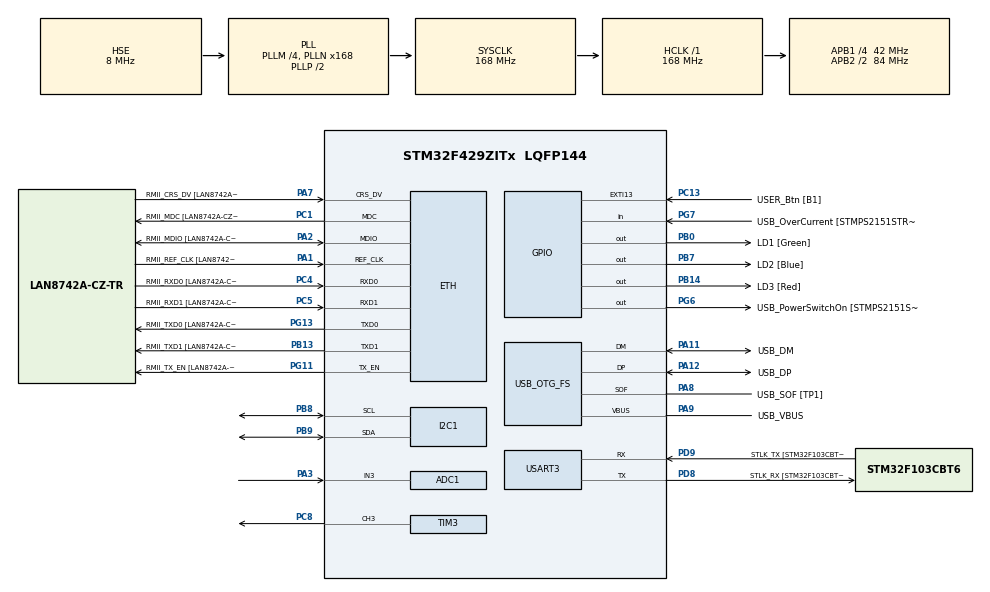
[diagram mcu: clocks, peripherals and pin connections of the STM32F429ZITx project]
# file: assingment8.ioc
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ADC1.Channel-0\#ChannelRegularConversion=ADC_CHANNEL_3
ADC1.NbrOfConversionFlag=1
ADC1.Rank-0\#ChannelRegularConversion=1
ADC1.SamplingTime-0\#ChannelRegularConversion=ADC_SAMPLETIME_3CYCLES
ADC1.master=1
ETH.MediaInterface=HAL_ETH_RMII_MODE
ETH.PHY_Name=LAN8742A_PHY_ADDRESS
ETH.PHY_Value=0
ETH.PhyAddress=0
Mcu.Family=STM32F4
Mcu.Name=STM32F429ZITx
Mcu.Package=LQFP144
NVIC.PriorityGroup=NVIC_PRIORITYGROUP_4
PA1.GPIO_Label=RMII_REF_CLK [LAN8742A-CZ-TR_REFCLK0]
PA1.Mode=RMII
PA1.Signal=ETH_REF_CLK
PA10.GPIO_Label=USB_ID
PA10.Signal=USB_OTG_FS_ID
PA11.GPIO_Label=USB_DM
PA11.Mode=Device_Only
PA11.Signal=USB_OTG_FS_DM
PA12.GPIO_Label=USB_DP
PA12.Mode=Device_Only
PA12.Signal=USB_OTG_FS_DP
PA13.GPIO_Label=TMS
PA13.Mode=Serial_Wire
PA13.Signal=SYS_JTMS-SWDIO
PA14.GPIO_Label=TCK
PA14.Mode=Serial_Wire
PA14.Signal=SYS_JTCK-SWCLK
PA2.GPIO_Label=RMII_MDIO [LAN8742A-CZ-TR_MDIO]
PA2.Mode=RMII
PA2.Signal=ETH_MDIO
PA3.Signal=ADCx_IN3
PA7.GPIO_Label=RMII_CRS_DV [LAN8742A-CZ-TR_CRS_DV]
PA7.Mode=RMII
PA7.Signal=ETH_CRS_DV
PA8.GPIO_Label=USB_SOF [TP1]
PA8.Mode=Activate_SOF_FS
PA8.Signal=USB_OTG_FS_SOF
PA9.GPIO_Label=USB_VBUS
PA9.Mode=Activate_VBUS
PA9.Signal=USB_OTG_FS_VBUS
PB0.GPIO_Label=LD1 [Green]
PB0.Signal=GPIO_Output
PB13.GPIO_Label=RMII_TXD1 [LAN8742A-CZ-TR_TXD1]
PB13.Mode=RMII
PB13.Signal=ETH_TXD1
PB14.GPIO_Label=LD3 [Red]
PB14.Signal=GPIO_Output
PB7.GPIO_Label=LD2 [Blue]
PB7.Signal=GPIO_Output
PB8.Mode=I2C
PB8.Signal=I2C1_SCL
PB9.Mode=I2C
PB9.Signal=I2C1_SDA
PC1.GPIO_Label=RMII_MDC [LAN8742A-CZ-TR_MDC]
PC1.Mode=RMII
PC1.Signal=ETH_MDC
PC13.GPIO_Label=USER_Btn [B1]
PC13.Signal=GPXTI13
PC14/OSC32_IN.Mode=LSE-External-Oscillator
PC14/OSC32_IN.Signal=RCC_OSC32_IN
PC15/OSC32_OUT.Mode=LSE-External-Oscillator
PC15/OSC32_OUT.Signal=RCC_OSC32_OUT
PC4.GPIO_Label=RMII_RXD0 [LAN8742A-CZ-TR_RXD0]
PC4.Mode=RMII
PC4.Signal=ETH_RXD0
PC5.GPIO_Label=RMII_RXD1 [LAN8742A-CZ-TR_RXD1]
PC5.Mode=RMII
PC5.Signal=ETH_RXD1
PC8.Signal=S_TIM3_CH3
PD8.GPIO_Label=STLK_RX [STM32F103CBT6_PA3]
PD8.Mode=Asynchronous
PD8.Signal=USART3_TX
PD9.GPIO_Label=STLK_TX [STM32F103CBT6_PA2]
PD9.Mode=Asynchronous
PD9.Signal=USART3_RX
PG11.GPIO_Label=RMII_TX_EN [LAN8742A-CZ-TR_TXEN]
PG11.Mode=RMII
PG11.Signal=ETH_TX_EN
PG13.GPIO_Label=RMII_TXD0 [LAN8742A-CZ-TR_TXD0]
PG13.Mode=RMII
PG13.Signal=ETH_TXD0
PG6.GPIO_Label=USB_PowerSwitchOn [STMPS2151STR_EN]
PG6.Signal=GPIO_Output
PG7.GPIO_Label=USB_OverCurrent [STMPS2151STR_FAULT]
PG7.Signal=GPIO_Input
PH0/OSC_IN.GPIO_Label=MCO [STM32F103CBT6_PA8]
PH0/OSC_IN.Mode=HSE-External-Clock-Source
PH0/OSC_IN.Signal=RCC_OSC_IN
PH1/OSC_OUT.Mode=HSE-External-Clock-Source
PH1/OSC_OUT.Signal=RCC_OSC_OUT
ProjectManager.HeapSize=0x200
ProjectManager.StackSize=0x400
ProjectManager.TargetToolchain=STM32CubeIDE
RCC.48MHZClocksFreq_Value=48000000
RCC.AHBFreq_Value=168000000
RCC.APB1CLKDivider=RCC_HCLK_DIV4
RCC.APB1Freq_Value=42000000
RCC.APB1TimFreq_Value=84000000
RCC.APB2CLKDivider=RCC_HCLK_DIV2
RCC.APB2Freq_Value=84000000
RCC.APB2TimCLKDivider=2
RCC.APB2TimFreq_Value=168000000
RCC.CortexFreq_Value=168000000
RCC.HCLKFreq_Value=168000000
RCC.HSE_VALUE=8000000
RCC.HSI_VALUE=16000000
RCC.PLLM=4
RCC.PLLMUL=RCC_PLL_MUL9
RCC.PLLN=168
RCC.PLLQ=7
RCC.PRESCALERUSB=RCC_USBCLKSOURCE_PLL_DIV1_5
RCC.SYSCLKFreq_VALUE=168000000
RCC.SYSCLKSource=RCC_SYSCLKSOURCE_PLLCLK
RCC.SYSCLKSourceVirtual=RCC_SYSCLKSOURCE_PLLCLK
RCC.USBFreq_Value=48000000
RCC.VCOOutputFreq_Value=336000000
SH.ADCx_IN3.0=ADC1_IN3,IN3
SH.S_TIM3_CH3.0=TIM3_CH3,PWM Generation3 CH3
TIM3.Channel-PWM\ Generation3\ CH3=TIM_CHANNEL_3
TIM3.Period=1000-1
TIM3.Prescaler=1680-1
TIM3.Pulse-PWM\ Generation3\ CH3=50-1
USART3.VirtualMode=VM_ASYNC
USB_OTG_FS.VirtualMode=Device_Only
VP_TIM3_VS_ClockSourceINT.Mode=Internal
board=NUCLEO-F429ZI

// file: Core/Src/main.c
/* USER CODE BEGIN Header */
/**
  ******************************************************************************
  * @file           : main.c
  * @brief          : Main program body
  ******************************************************************************
  * @attention
  *
  * Copyright (c) 2023 STMicroelectronics.
  * All rights reserved.
  *
  * This software is licensed under terms that can be found in the LICENSE file
  * in the root directory of this software component.
  * If no LICENSE file comes with this software, it is provided AS-IS.
  *
  ******************************************************************************
  */
/* USER CODE END Header */
#include "main.h"
#include "string.h"

/* USER CODE BEGIN Includes */
#include "stdio.h"
/* USER CODE END Includes */

ETH_TxPacketConfig TxConfig;
ETH_DMADescTypeDef  DMARxDscrTab[ETH_RX_DESC_CNT]; /* Ethernet Rx DMA Descriptors */
ETH_DMADescTypeDef  DMATxDscrTab[ETH_TX_DESC_CNT]; /* Ethernet Tx DMA Descriptors */

ADC_HandleTypeDef hadc1;

ETH_HandleTypeDef heth;

I2C_HandleTypeDef hi2c1;

TIM_HandleTypeDef htim3;

UART_HandleTypeDef huart3;

PCD_HandleTypeDef hpcd_USB_OTG_FS;

void SystemClock_Config(void);
static void MX_GPIO_Init(void);
static void MX_ETH_Init(void);
static void MX_USART3_UART_Init(void);
static void MX_USB_OTG_FS_PCD_Init(void);
static void MX_I2C1_Init(void);
static void MX_ADC1_Init(void);
static void MX_TIM3_Init(void);
/* USER CODE BEGIN PFP */
int _write(int file, char *ptr, int len) {
	HAL_UART_Transmit(&huart3, (uint8_t *)ptr, len, 500);
	return len;
}

int __io_putchar(int ch) {
	HAL_UART_Transmit(&huart3, (uint8_t *)&ch, 1, 1000);
	return ch;
}
/* USER CODE END PFP */

/* USER CODE BEGIN 0 */

extern void I2C_Scan(void);
void init();
/* USER CODE END 0 */

int main(void)
{

  /* MCU Configuration--------------------------------------------------------*/

  /* Reset of all peripherals, Initializes the Flash interface and the Systick. */
  HAL_Init();

  /* Configure the system clock */
  SystemClock_Config();

  /* Initialize all configured peripherals */
  MX_GPIO_Init();
  MX_ETH_Init();
  MX_USART3_UART_Init();
  MX_USB_OTG_FS_PCD_Init();
  MX_I2C1_Init();
  MX_ADC1_Init();
  MX_TIM3_Init();
  /* USER CODE BEGIN 2 */
  int adc_value;
  char uart_buf[30];
  char uart_buf2[50];

  HAL_ADC_Start_IT(&hadc1);

//	init();
#define LCD_ADDR (0x27 << 1)
	I2C_Scan();
	LCD_Init(LCD_ADDR);
	HAL_TIM_PWM_Start(&htim3, TIM_CHANNEL_3);
	uint16_t value = 0;
  /* USER CODE END 2 */

  /* Infinite loop */
  /* USER CODE BEGIN WHILE */
  while (1)
  {

		HAL_ADC_Start(&hadc1);
		HAL_ADC_PollForConversion(&hadc1, 10);
		adc_value = HAL_ADC_GetValue(&hadc1);
//		HAL_ADC_Stop(&hadc1);

		memset(uart_buf, 0, sizeof(uart_buf));

		TIM3->CCR3=value;
		value = (double)adc_value / 4095 * 150;
		value++;
		if (value>TIM3->ARR) value=0;

		if (value == 20) {
			HAL_GPIO_WritePin(GPIOB, LD1_Pin, 1);
			HAL_GPIO_WritePin(GPIOB, LD2_Pin, 0);
			HAL_GPIO_WritePin(GPIOB, LD3_Pin, 0);
		}
		if (value == 85) {
			HAL_GPIO_WritePin(GPIOB, LD1_Pin, 0);
			HAL_GPIO_WritePin(GPIOB, LD2_Pin, 1);
			HAL_GPIO_WritePin(GPIOB, LD3_Pin, 0);
		}
		if (value == 150) {
			HAL_GPIO_WritePin(GPIOB, LD1_Pin, 0);
			HAL_GPIO_WritePin(GPIOB, LD2_Pin, 0);
			HAL_GPIO_WritePin(GPIOB, LD3_Pin, 1);
		}

		sprintf(uart_buf, "ADC   deg  Duty");
		sprintf(uart_buf2, "%4d  %.0f  %.1f%%", adc_value, (value*1.2)-90, value*0.1);
		printf("ADC: %4d, deg : %.0f, Duty : %.1f%%  \r\n", adc_value, (value*1.2)-90, value*0.1);

		LCD_SendCommand(LCD_ADDR, 0b10000000);
		LCD_SendString(LCD_ADDR, uart_buf);

		LCD_SendCommand(LCD_ADDR, 0b11000000);
		LCD_SendString(LCD_ADDR, uart_buf2);

    /* USER CODE END WHILE */

  }
}

void SystemClock_Config(void)
{
  RCC_OscInitTypeDef RCC_OscInitStruct = {0};
  RCC_ClkInitTypeDef RCC_ClkInitStruct = {0};

  /** Configure the main internal regulator output voltage
  */
  __HAL_RCC_PWR_CLK_ENABLE();
  __HAL_PWR_VOLTAGESCALING_CONFIG(PWR_REGULATOR_VOLTAGE_SCALE1);

  /** Initializes the RCC Oscillators according to the specified parameters
  * in the RCC_OscInitTypeDef structure.
  */
  RCC_OscInitStruct.OscillatorType = RCC_OSCILLATORTYPE_HSE;
  RCC_OscInitStruct.HSEState = RCC_HSE_BYPASS;
  RCC_OscInitStruct.PLL.PLLState = RCC_PLL_ON;
  RCC_OscInitStruct.PLL.PLLSource = RCC_PLLSOURCE_HSE;
  RCC_OscInitStruct.PLL.PLLM = 4;
  RCC_OscInitStruct.PLL.PLLN = 168;
  RCC_OscInitStruct.PLL.PLLP = RCC_PLLP_DIV2;
  RCC_OscInitStruct.PLL.PLLQ = 7;
  if (HAL_RCC_OscConfig(&RCC_OscInitStruct) != HAL_OK)
  {
    Error_Handler();
  }

  /** Initializes the CPU, AHB and APB buses clocks
  */
  RCC_ClkInitStruct.ClockType = RCC_CLOCKTYPE_HCLK|RCC_CLOCKTYPE_SYSCLK
                              |RCC_CLOCKTYPE_PCLK1|RCC_CLOCKTYPE_PCLK2;
  RCC_ClkInitStruct.SYSCLKSource = RCC_SYSCLKSOURCE_PLLCLK;
  RCC_ClkInitStruct.AHBCLKDivider = RCC_SYSCLK_DIV1;
  RCC_ClkInitStruct.APB1CLKDivider = RCC_HCLK_DIV4;
  RCC_ClkInitStruct.APB2CLKDivider = RCC_HCLK_DIV2;

  if (HAL_RCC_ClockConfig(&RCC_ClkInitStruct, FLASH_LATENCY_5) != HAL_OK)
  {
    Error_Handler();
  }
}

static void MX_ADC1_Init(void)
{

  ADC_ChannelConfTypeDef sConfig = {0};

  /** Configure the global features of the ADC (Clock, Resolution, Data Alignment and number of conversion)
  */
  hadc1.Instance = ADC1;
  hadc1.Init.ClockPrescaler = ADC_CLOCK_SYNC_PCLK_DIV4;
  hadc1.Init.Resolution = ADC_RESOLUTION_12B;
  hadc1.Init.ScanConvMode = DISABLE;
  hadc1.Init.ContinuousConvMode = DISABLE;
  hadc1.Init.DiscontinuousConvMode = DISABLE;
  hadc1.Init.ExternalTrigConvEdge = ADC_EXTERNALTRIGCONVEDGE_NONE;
  hadc1.Init.ExternalTrigConv = ADC_SOFTWARE_START;
  hadc1.Init.DataAlign = ADC_DATAALIGN_RIGHT;
  hadc1.Init.NbrOfConversion = 1;
  hadc1.Init.DMAContinuousRequests = DISABLE;
  hadc1.Init.EOCSelection = ADC_EOC_SINGLE_CONV;
  if (HAL_ADC_Init(&hadc1) != HAL_OK)
  {
    Error_Handler();
  }

  /** Configure for the selected ADC regular channel its corresponding rank in the sequencer and its sample time.
  */
  sConfig.Channel = ADC_CHANNEL_3;
  sConfig.Rank = 1;
  sConfig.SamplingTime = ADC_SAMPLETIME_3CYCLES;
  if (HAL_ADC_ConfigChannel(&hadc1, &sConfig) != HAL_OK)
  {
    Error_Handler();
  }

}

static void MX_ETH_Init(void)
{

   static uint8_t MACAddr[6];

  heth.Instance = ETH;
  MACAddr[0] = 0x00;
  MACAddr[1] = 0x80;
  MACAddr[2] = 0xE1;
  MACAddr[3] = 0x00;
  MACAddr[4] = 0x00;
  MACAddr[5] = 0x00;
  heth.Init.MACAddr = &MACAddr[0];
  heth.Init.MediaInterface = HAL_ETH_RMII_MODE;
  heth.Init.TxDesc = DMATxDscrTab;
  heth.Init.RxDesc = DMARxDscrTab;
  heth.Init.RxBuffLen = 1524;

  if (HAL_ETH_Init(&heth) != HAL_OK)
  {
    Error_Handler();
  }

  memset(&TxConfig, 0 , sizeof(ETH_TxPacketConfig));
  TxConfig.Attributes = ETH_TX_PACKETS_FEATURES_CSUM | ETH_TX_PACKETS_FEATURES_CRCPAD;
  TxConfig.ChecksumCtrl = ETH_CHECKSUM_IPHDR_PAYLOAD_INSERT_PHDR_CALC;
  TxConfig.CRCPadCtrl = ETH_CRC_PAD_INSERT;

}

static void MX_I2C1_Init(void)
{

  hi2c1.Instance = I2C1;
  hi2c1.Init.ClockSpeed = 100000;
  hi2c1.Init.DutyCycle = I2C_DUTYCYCLE_2;
  hi2c1.Init.OwnAddress1 = 0;
  hi2c1.Init.AddressingMode = I2C_ADDRESSINGMODE_7BIT;
  hi2c1.Init.DualAddressMode = I2C_DUALADDRESS_DISABLE;
  hi2c1.Init.OwnAddress2 = 0;
  hi2c1.Init.GeneralCallMode = I2C_GENERALCALL_DISABLE;
  hi2c1.Init.NoStretchMode = I2C_NOSTRETCH_DISABLE;
  if (HAL_I2C_Init(&hi2c1) != HAL_OK)
  {
    Error_Handler();
  }

  /** Configure Analogue filter
  */
  if (HAL_I2CEx_ConfigAnalogFilter(&hi2c1, I2C_ANALOGFILTER_ENABLE) != HAL_OK)
  {
    Error_Handler();
  }

  /** Configure Digital filter
  */
  if (HAL_I2CEx_ConfigDigitalFilter(&hi2c1, 0) != HAL_OK)
  {
    Error_Handler();
  }

}

static void MX_TIM3_Init(void)
{

  TIM_ClockConfigTypeDef sClockSourceConfig = {0};
  TIM_MasterConfigTypeDef sMasterConfig = {0};
  TIM_OC_InitTypeDef sConfigOC = {0};

  htim3.Instance = TIM3;
  htim3.Init.Prescaler = 1680-1;
  htim3.Init.CounterMode = TIM_COUNTERMODE_UP;
  htim3.Init.Period = 1000-1;
  htim3.Init.ClockDivision = TIM_CLOCKDIVISION_DIV1;
  htim3.Init.AutoReloadPreload = TIM_AUTORELOAD_PRELOAD_DISABLE;
  if (HAL_TIM_Base_Init(&htim3) != HAL_OK)
  {
    Error_Handler();
  }
  sClockSourceConfig.ClockSource = TIM_CLOCKSOURCE_INTERNAL;
  if (HAL_TIM_ConfigClockSource(&htim3, &sClockSourceConfig) != HAL_OK)
  {
    Error_Handler();
  }
  if (HAL_TIM_PWM_Init(&htim3) != HAL_OK)
  {
    Error_Handler();
  }
  sMasterConfig.MasterOutputTrigger = TIM_TRGO_RESET;
  sMasterConfig.MasterSlaveMode = TIM_MASTERSLAVEMODE_DISABLE;
  if (HAL_TIMEx_MasterConfigSynchronization(&htim3, &sMasterConfig) != HAL_OK)
  {
    Error_Handler();
  }
  sConfigOC.OCMode = TIM_OCMODE_PWM1;
  sConfigOC.Pulse = 50-1;
  sConfigOC.OCPolarity = TIM_OCPOLARITY_HIGH;
  sConfigOC.OCFastMode = TIM_OCFAST_DISABLE;
  if (HAL_TIM_PWM_ConfigChannel(&htim3, &sConfigOC, TIM_CHANNEL_3) != HAL_OK)
  {
    Error_Handler();
  }
  HAL_TIM_MspPostInit(&htim3);

}

static void MX_USART3_UART_Init(void)
{

  huart3.Instance = USART3;
  huart3.Init.BaudRate = 115200;
  huart3.Init.WordLength = UART_WORDLENGTH_8B;
  huart3.Init.StopBits = UART_STOPBITS_1;
  huart3.Init.Parity = UART_PARITY_NONE;
  huart3.Init.Mode = UART_MODE_TX_RX;
  huart3.Init.HwFlowCtl = UART_HWCONTROL_NONE;
  huart3.Init.OverSampling = UART_OVERSAMPLING_16;
  if (HAL_UART_Init(&huart3) != HAL_OK)
  {
    Error_Handler();
  }

}

static void MX_USB_OTG_FS_PCD_Init(void)
{

  hpcd_USB_OTG_FS.Instance = USB_OTG_FS;
  hpcd_USB_OTG_FS.Init.dev_endpoints = 4;
  hpcd_USB_OTG_FS.Init.speed = PCD_SPEED_FULL;
  hpcd_USB_OTG_FS.Init.dma_enable = DISABLE;
  hpcd_USB_OTG_FS.Init.phy_itface = PCD_PHY_EMBEDDED;
  hpcd_USB_OTG_FS.Init.Sof_enable = ENABLE;
  hpcd_USB_OTG_FS.Init.low_power_enable = DISABLE;
  hpcd_USB_OTG_FS.Init.lpm_enable = DISABLE;
  hpcd_USB_OTG_FS.Init.vbus_sensing_enable = ENABLE;
  hpcd_USB_OTG_FS.Init.use_dedicated_ep1 = DISABLE;
  if (HAL_PCD_Init(&hpcd_USB_OTG_FS) != HAL_OK)
  {
    Error_Handler();
  }

}

static void MX_GPIO_Init(void)
{
  GPIO_InitTypeDef GPIO_InitStruct = {0};

  /* GPIO Ports Clock Enable */
  __HAL_RCC_GPIOC_CLK_ENABLE();
  __HAL_RCC_GPIOH_CLK_ENABLE();
  __HAL_RCC_GPIOA_CLK_ENABLE();
  __HAL_RCC_GPIOB_CLK_ENABLE();
  __HAL_RCC_GPIOD_CLK_ENABLE();
  __HAL_RCC_GPIOG_CLK_ENABLE();

  /*Configure GPIO pin Output Level */
  HAL_GPIO_WritePin(GPIOB, LD1_Pin|LD3_Pin|LD2_Pin, GPIO_PIN_RESET);

  /*Configure GPIO pin Output Level */
  HAL_GPIO_WritePin(USB_PowerSwitchOn_GPIO_Port, USB_PowerSwitchOn_Pin, GPIO_PIN_RESET);

  /*Configure GPIO pin : USER_Btn_Pin */
  GPIO_InitStruct.Pin = USER_Btn_Pin;
  GPIO_InitStruct.Mode = GPIO_MODE_IT_RISING;
  GPIO_InitStruct.Pull = GPIO_NOPULL;
  HAL_GPIO_Init(USER_Btn_GPIO_Port, &GPIO_InitStruct);

  /*Configure GPIO pins : LD1_Pin LD3_Pin LD2_Pin */
  GPIO_InitStruct.Pin = LD1_Pin|LD3_Pin|LD2_Pin;
  GPIO_InitStruct.Mode = GPIO_MODE_OUTPUT_PP;
  GPIO_InitStruct.Pull = GPIO_NOPULL;
  GPIO_InitStruct.Speed = GPIO_SPEED_FREQ_LOW;
  HAL_GPIO_Init(GPIOB, &GPIO_InitStruct);

  /*Configure GPIO pin : USB_PowerSwitchOn_Pin */
  GPIO_InitStruct.Pin = USB_PowerSwitchOn_Pin;
  GPIO_InitStruct.Mode = GPIO_MODE_OUTPUT_PP;
  GPIO_InitStruct.Pull = GPIO_NOPULL;
  GPIO_InitStruct.Speed = GPIO_SPEED_FREQ_LOW;
  HAL_GPIO_Init(USB_PowerSwitchOn_GPIO_Port, &GPIO_InitStruct);

  /*Configure GPIO pin : USB_OverCurrent_Pin */
  GPIO_InitStruct.Pin = USB_OverCurrent_Pin;
  GPIO_InitStruct.Mode = GPIO_MODE_INPUT;
  GPIO_InitStruct.Pull = GPIO_NOPULL;
  HAL_GPIO_Init(USB_OverCurrent_GPIO_Port, &GPIO_InitStruct);

}

void Error_Handler(void)
{
  __disable_irq();
  while (1)
  {
  }
}
